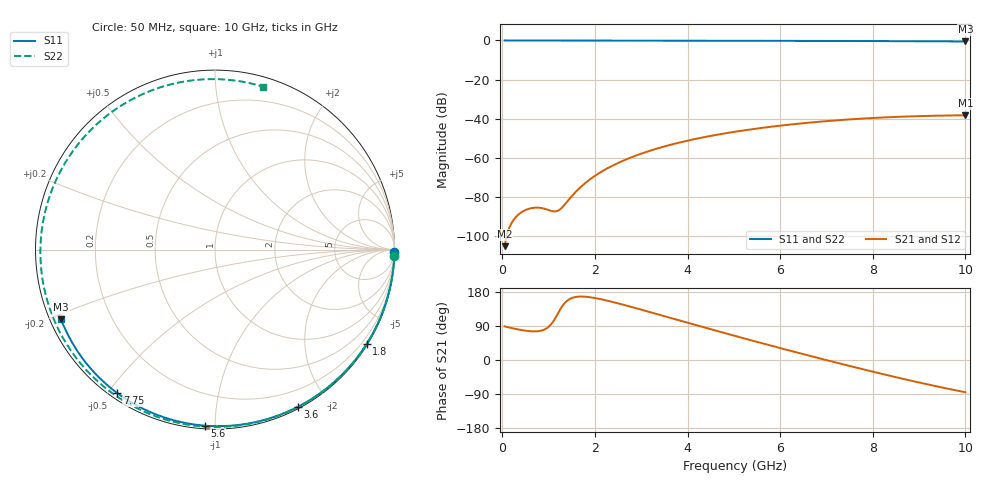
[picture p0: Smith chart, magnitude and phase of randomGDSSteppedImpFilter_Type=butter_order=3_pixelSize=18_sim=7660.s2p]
! freq	dB(S11)	phase(S11)	dB(S12)	phase(S12)
!  dB(S21)	phase(S21)	dB(S22)	phase(S22)
!S-par simulation data
#  GHz  S  DB  R 50
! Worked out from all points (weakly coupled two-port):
!   200 points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, 50 MHz to 10 GHz, reference 50 ohm
!   highest |S21| = -38.21 dB at 10 GHz (marker M1); lowest = -105.0 dB at 50 MHz (marker M2)
!   lowest |S11| = -0.5 dB at 10 GHz (marker M3), VSWR 33.12, Z = 1.58 - j10.8 ohm
!   |S11| at or under -10 dB: nowhere
!   |S22| runs from -0.5 to 0.0 dB; largest |S21 - S12| = 0
!   S11 on the Smith chart (normalised r, x): 50 MHz: open; 1.8 GHz: 0.03, -3.49; 3.6 GHz: 0.02, -1.66; 5.6 GHz: 0.02, -0.94; 7.75 GHz: 0.02, -0.53; 10 GHz: 0.03, -0.22
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0.05  -0.00 -0.9  -105.05 88.7  -105.05 88.7  -0.00 -2.0
0.35  -0.01 -6.3  -88.88 80.5  -88.88 80.5  -0.02 -14.1
0.7  -0.02 -12.6  -85.40 75.4  -85.40 75.4  -0.04 -27.9
1.1  -0.03 -19.7  -87.26 101.6  -87.26 101.6  -0.05 -43.3
1.45  -0.03 -25.8  -80.91 160.5  -80.91 160.5  -0.07 -56.4
1.5  -0.03 -26.7  -79.53 163.5  -79.53 163.5  -0.07 -58.2
1.75  -0.04 -31.1  -73.64 167.4  -73.64 167.4  -0.08 -67.1
1.8  -0.04 -32.0  -72.65 167.0  -72.65 167.0  -0.08 -68.9
2.1  -0.05 -37.1  -67.62 161.2  -67.62 161.2  -0.09 -79.1
2.45  -0.06 -43.1  -63.12 151.1  -63.12 151.1  -0.10 -90.6
2.9  -0.07 -50.7  -58.66 136.3  -58.66 136.3  -0.12 -104.6
3.4  -0.08 -59.0  -54.80 119.1  -54.80 119.1  -0.14 -119.2
3.6  -0.08 -62.2  -53.49 112.2  -53.49 112.2  -0.14 -124.8
4.3  -0.10 -73.4  -49.66 88.1  -49.66 88.1  -0.17 -143.5
5.05  -0.13 -85.0  -46.51 62.7  -46.51 62.7  -0.20 -162.3
5.6  -0.15 -93.3  -44.66 44.5  -44.66 44.5  -0.23 -175.6
6.15  -0.18 -101.4  -43.11 26.6  -43.11 26.6  -0.26 171.3
6.7  -0.21 -109.4  -41.81 9.1  -41.81 9.1  -0.29 158.2
7.75  -0.29 -124.2  -39.94 -23.3  -39.94 -23.3  -0.35 132.8
8.35  -0.34 -132.6  -39.19 -41.1  -39.19 -41.1  -0.39 117.8
9.2  -0.43 -144.4  -38.51 -64.8  -38.51 -64.8  -0.44 95.6
10  -0.52 -155.7  -38.21 -85.1  -38.21 -85.1  -0.48 73.7
